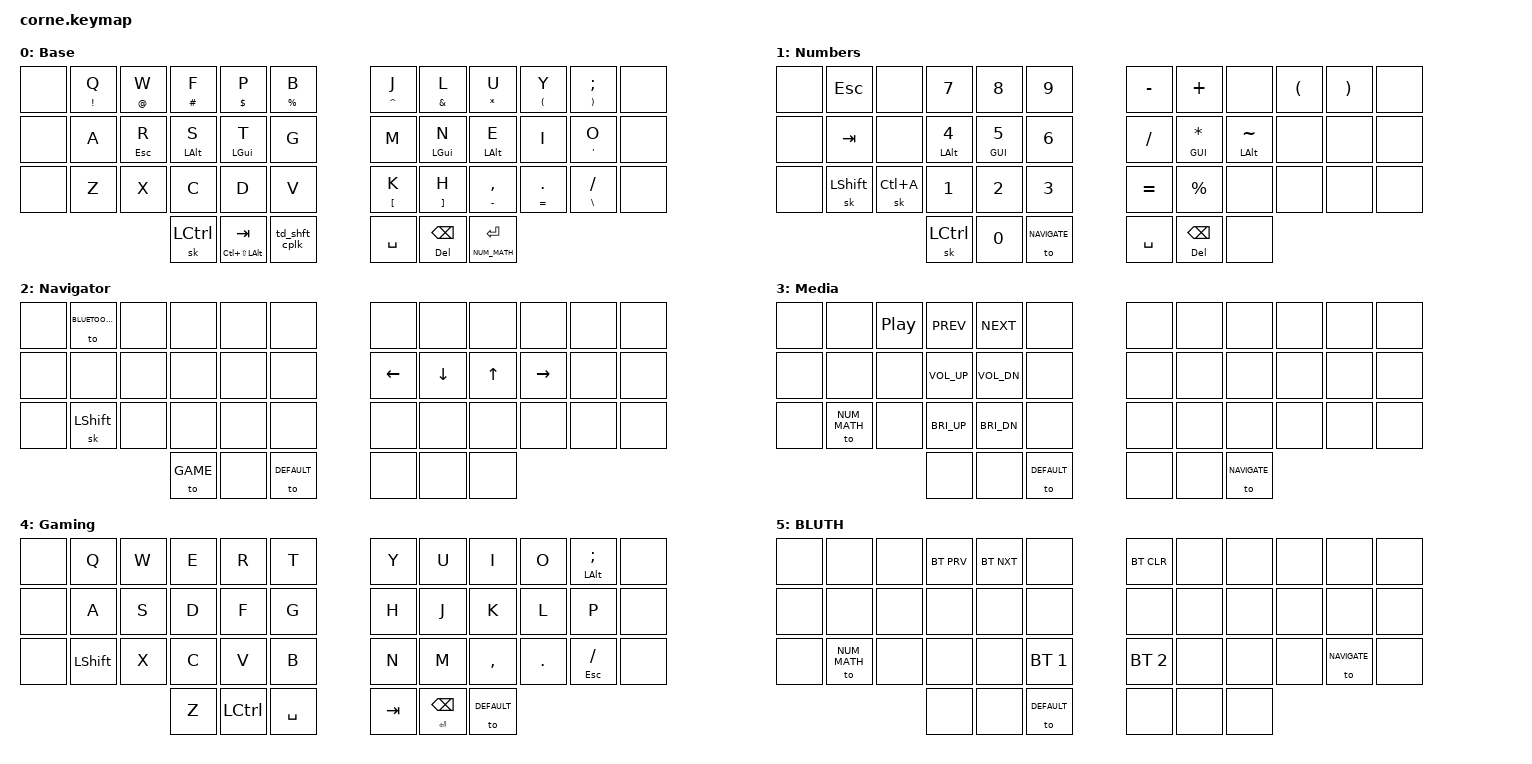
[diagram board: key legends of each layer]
/*
 * Copyright (c) 2020 The ZMK Contributors
 *
 * SPDX-License-Identifier: MIT
 */

#include <behaviors.dtsi>
#include <dt-bindings/zmk/keys.h>
#include <dt-bindings/zmk/bt.h>

#define DEFAULT    0
#define NUM_MATH   1
#define NAVIGATE   2
#define MEDIA      3
#define GAME       4
#define BLUETOOTH  5

&mt {
    flavor = "tap-preferred";
};

/ {
        behaviors {
                hm: homerow_mods {
                        compatible = "zmk,behavior-hold-tap";
                        label = "HOMEROW_MODS";
                        #binding-cells = <2>;
                        tapping-term-ms = <200>;
                        quick_tap_ms = <0>;
                        flavor = "tap-preferred";
                        bindings = <&kp>, <&kp>;
                };


                td_shft_cplk: tapdance_shift_capslock {
                        compatible = "zmk,behavior-tap-dance";
                        label = "TAPDANCE_SHIFT_CAPSLOCK";
                        #binding-cells = <0>;
                        tapping-term-ms = <200>;
                        bindings = <&sk LSHFT> , <&kp CAPS>;
                };

                
        };

        keymap {
                compatible = "zmk,keymap";

                // ===================================================================================================================
                // Base Layer [Colemak-DH]
                // -------------------------------------------------------------------------------------------------------------------
                // | EMPTY |   Q   |   W   |   F   |   P   |   B   ||      ||   J   |   L   |   U   |   Y   |   ;   | EMPTY |
                // | EMPTY |   A   |   R   |   S   |   T   |   G   ||      ||   M   |   N   |   E   |   I   |   O   | EMPTY |
                // | EMPTY |   Z   |   X   |   C   |   D   |   V   ||      ||   K   |   H   |   ,   |   .   |   /   | EMPTY |
                //                         |  CTRL |  TAB  |  SHFT ||      ||  SPC  |  BSPC |  RET  |
                // -------------------------------------------------------------------------------------------------------------------
                // Homerow Mods, Mod-Tap and Tap-Dance
                // -------------------------------------------------------------------------------------------------------------------
                // | EMPTY |   !   |   @   |   #   |   $   |   %   ||      ||   ^   |   &   |   *   |  LPAR |  RPAR | EMPTY |
                // | EMPTY |       |  ESC  |  ALT  |  GUI  |       ||      ||       |  GUI  |  ALT  |       |   '   | EMPTY |
                // | EMPTY |       |       |       |       |       ||      ||  LBKT |  RBKT |   -   |   =   |   \   | EMPTY |
                //                         |       |  MEH  |  CAPS ||      ||       |  DEL  |  NUM  |
                // ===================================================================================================================
                default_layer {
                display-name = "Base";
                bindings = <
                &none   &mt EXCL Q   &mt AT W    &mt HASH F   &mt DLLR P             &mt PRCNT B          &mt CARET J   &mt AMPS L     &mt STAR U        &mt LPAR Y      &mt RPAR SEMI   &none
                &none   &kp A        &hm ESC R   &hm LALT S   &hm LGUI T             &kp G                &kp M         &hm LGUI N     &hm LALT E        &kp I           &mt SQT O       &none
                &none   &kp Z        &kp X       &kp C        &kp D                  &kp V                &mt LBKT K    &mt RBKT H     &mt MINUS COMMA   &mt EQUAL DOT   &mt BSLH FSLH   &none
                                                 &sk LCTRL    &mt LC(LS(LALT)) TAB   &td_shft_cplk        &kp SPACE     &mt DEL BSPC   &lt NUM_MATH RET
                >;
                };

                // ===================================================================================================================
                // Numbers and Math Operators Layer
                // -------------------------------------------------------------------------------------------------------------------
                // | EMPTY |  ESC  |       |   7   |   8   |   9   ||      ||   -   |   +   |       |  LPAR |  RPAR | EMPTY |
                // | EMPTY |  TAB  |       |   4   |   5   |   6   ||      ||   /   |   *   |   ~   |       |       | EMPTY |
                // | EMPTY |  SHFT |  LC_a |   1   |   2   |   3   ||      ||   =   |   %   |       |       |       | EMPTY |
                //                         |  CTRL |   0   |  NAVI ||      ||  SPC  |  BSPC |  DNC  |
                // -------------------------------------------------------------------------------------------------------------------
                // Homerow Mods and Tap-Dancing
                // -------------------------------------------------------------------------------------------------------------------
                // | EMPTY |       |       |       |       |       ||      ||       |       |       |       |       | EMPTY |
                // | EMPTY |       |       |  ALT  |  GUI  |       ||      ||       |  GUI  |  ALT  |       |       | EMPTY |
                // | EMPTY |       |       |       |       |       ||      ||       |       |       |       |       | EMPTY |
                //                         |       |       |       ||      ||       |  DEL  |  DNC  |
                // ===================================================================================================================
                num_math_layer {
                display-name = "Numbers";
                bindings = <
                &none   &kp ESC     &none       &kp N7        &kp N8       &kp N9              &kp MINUS   &kp PLUS       &none            &kp LPAR   &kp RPAR   &none
                &none   &kp TAB     &none       &hm LALT N4   &hm GUI N5   &kp N6              &kp FSLH    &hm GUI STAR   &hm LALT TILDE   &none      &none      &none
                &none   &sk LSHFT   &sk LC(A)   &kp N1        &kp N2       &kp N3              &kp EQUAL   &kp PRCNT      &none            &none      &none      &none
                                                &sk LCTRL     &kp N0       &to NAVIGATE        &kp SPACE   &mt DEL BSPC   &none
                >;
                };

                // ===================================================================================================================
                // Navigation and Mouse Layer -- !!  WORK IN PROGRESS UNTIL MOUSE KEYS AND MOVEMENT ARE SUPPORTED.  !!
                // -------------------------------------------------------------------------------------------------------------------
                // | EMPTY |  BLU  |       |       |       |       ||      ||       |       |       |       |       | EMPTY |
                // | EMPTY |       |       |       |       |       ||      ||   LT  |   DN  |   UP  |   RT  |       | EMPTY |
                // | EMPTY |  SHFT |       |       |       |       ||      ||       |       |       |       |       | EMPTY |
                //                         |  GAME |       |  DNC  ||      ||       |       |       |
                // -------------------------------------------------------------------------------------------------------------------
                // Homerow Mods and Tap-Dancing
                // -------------------------------------------------------------------------------------------------------------------
                // | EMPTY |       |       |       |       |       ||      ||       |       |       |       |       | EMPTY |
                // | EMPTY |       |       |       |       |       ||      ||       |       |       |       |       | EMPTY |
                // | EMPTY |       |       |       |       |       ||      ||       |       |       |       |       | EMPTY |
                //                         |       |       |  DNC  ||      ||       |       |       |
                // ===================================================================================================================
                navi_mouse_layer {
                display-name = "Navigator";
                bindings = <
                &none   &to BLUETOOTH   &none   &none      &none   &none              &none      &none      &none    &none       &none   &none
                &none   &none           &none   &none      &none   &none              &kp LEFT   &kp DOWN   &kp UP   &kp RIGHT   &none   &none
                &none   &sk LSHFT       &none   &none      &none   &none              &none      &none      &none    &none       &none   &none
                                                &to GAME   &none   &to DEFAULT        &none      &none      &none
                >;
                };

                // ===================================================================================================================
                // Media Control Layer - UNUSED FOR NOW
                // -------------------------------------------------------------------------------------------------------------------
                // | EMPTY |       |  PLPS |  PREV |  NEXT |       ||      ||       |       |       |       |       | EMPTY |
                // | EMPTY |       |       |  VUP  |  VDN  |       ||      ||       |       |       |       |       | EMPTY |
                // | EMPTY |  NUM  |       |  BUP  |  BDN  |       ||      ||       |       |       |       |       | EMPTY |
                //                         |       |       |  DFT  ||      ||       |       |  NAVI |
                // -------------------------------------------------------------------------------------------------------------------
                // Homerow Mods and Tap-Dancing
                // -------------------------------------------------------------------------------------------------------------------
                // | EMPTY |       |       |       |       |       ||      ||       |       |       |       |       | EMPTY |
                // | EMPTY |       |       |       |       |       ||      ||       |       |       |       |       | EMPTY |
                // | EMPTY |       |       |       |       |       ||      ||       |       |       |       |       | EMPTY |
                //                         |       |       |       ||      ||       |       |       |
                // ===================================================================================================================
                media_layer {
                display-name = "Media";
                bindings = <
                &none   &none          &kp C_PP   &kp C_PREV     &kp C_NEXT     &none              &none   &none   &none          &none   &none   &none
                &none   &none          &none      &kp C_VOL_UP   &kp C_VOL_DN   &none              &none   &none   &none          &none   &none   &none
                &none   &to NUM_MATH   &none      &kp C_BRI_UP   &kp C_BRI_DN   &none              &none   &none   &none          &none   &none   &none
                                                  &none          &none          &to DEFAULT        &none   &none   &to NAVIGATE
                >;
                };

                // ===================================================================================================================
                // Game Layer
                // -------------------------------------------------------------------------------------------------------------------
                // | EMPTY |   Q   |   W   |   E   |   R   |   T   ||      ||   Y   |   U   |   I   |   O   |   ;   | EMPTY |
                // | EMPTY |   A   |   S   |   D   |   F   |   G   ||      ||   H   |   J   |   K   |   L   |   P   | EMPTY |
                // | EMPTY |   Z   |   X   |   C   |   V   |   B   ||      ||   N   |   M   |   ,   |   .   |   /   | EMPTY |
                //                         |  CTRL |  TAB  |  SPC  ||      ||  SPC  |  BSPC |  NUM  |
                // -------------------------------------------------------------------------------------------------------------------
                // Homerow Mods and Tap-Dancing
                // -------------------------------------------------------------------------------------------------------------------
                // | EMPTY |       |       |       |       |       ||      ||       |       |       |       |       | EMPTY |
                // | EMPTY |       |       |       |       |       ||      ||       |       |       |       |       | EMPTY |
                // | EMPTY |       |       |       |       |       ||      ||       |       |       |       |       | EMPTY |
                //                         |       |       |       ||      ||       |       |       |
                // ===================================================================================================================
                game_layer {
                display-name = "Gaming";
                bindings = <
                &none   &kp Q       &kp W   &kp E   &kp R       &kp T            &kp Y     &kp U          &kp I         &kp O     &hm LALT SEMI   &none
                &none   &kp A       &kp S   &kp D   &kp F       &kp G            &kp H     &kp J          &kp K         &kp L     &kp P           &none
                &none   &kp LSHFT   &kp X   &kp C   &kp V       &kp B            &kp N     &kp M          &kp COMMA     &kp DOT   &hm ESC FSLH    &none
                                            &kp Z   &kp LCTRL   &kp SPACE        &kp TAB   &mt RET BSPC   &to DEFAULT
                >;
                };

                // ===================================================================================================================
                // Bluetooth Manager Layer
                // -------------------------------------------------------------------------------------------------------------------
                // | EMPTY |       |       |  BLP  |  BLN  |       ||      ||  BLC  |       |       |       |       | EMPTY |
                // | EMPTY |       |       |       |       |       ||      ||       |       |       |       |       | EMPTY |
                // | EMPTY |  NUM  |       |       |       |  BL1  ||      ||  BL2  |       |       |       |  NUM  | EMPTY |
                //                         |       |       |  DFT  ||      ||       |       |       |
                // -------------------------------------------------------------------------------------------------------------------
                // Homerow Mods and Tap-Dancing
                // -------------------------------------------------------------------------------------------------------------------
                // | EMPTY |       |       |       |       |       ||      ||       |       |       |       |       | EMPTY |
                // | EMPTY |       |       |       |       |       ||      ||       |       |       |       |       | EMPTY |
                // | EMPTY |       |       |       |       |       ||      ||       |       |       |       |       | EMPTY |
                //                         |       |       |  DFT  ||      ||       |       |       |
                // ===================================================================================================================
                blu_layer {
                display-name = "BLUTH";
                bindings = <
                &none   &none          &none   &bt BT_PRV   &bt BT_NXT   &none               &bt BT_CLR     &none   &none   &none   &none          &none
                &none   &none          &none   &none        &none        &none               &none          &none   &none   &none   &none          &none
                &none   &to NUM_MATH   &none   &none        &none        &bt BT_SEL 1        &bt BT_SEL 2   &none   &none   &none   &to NAVIGATE   &none
                                               &none        &none        &to DEFAULT         &none          &none   &none
                >;
                };
        };
};
